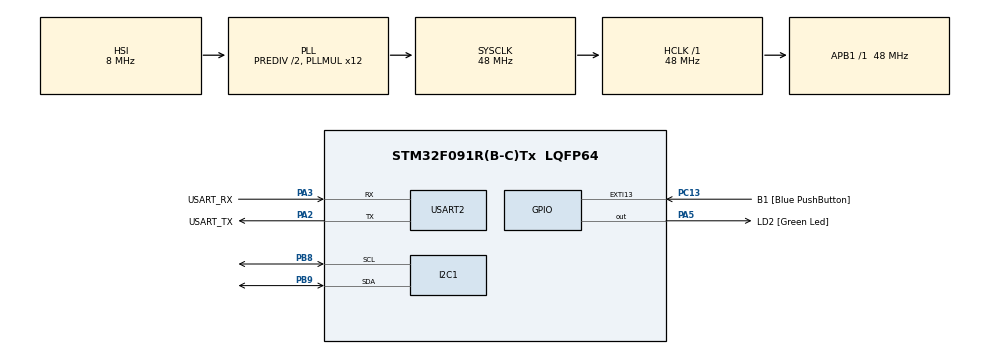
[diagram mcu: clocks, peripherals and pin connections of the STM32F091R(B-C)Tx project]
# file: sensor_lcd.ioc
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Mcu.Family=STM32F0
Mcu.Name=STM32F091R(B-C)Tx
Mcu.Package=LQFP64
PA13.GPIO_Label=TMS
PA13.Mode=Serial_Wire
PA13.Signal=SYS_SWDIO
PA14.GPIO_Label=TCK
PA14.Mode=Serial_Wire
PA14.Signal=SYS_SWCLK
PA2.GPIO_Label=USART_TX
PA2.GPIO_Mode=GPIO_MODE_AF_PP
PA2.GPIO_PuPd=GPIO_NOPULL
PA2.GPIO_Speed=GPIO_SPEED_FREQ_LOW
PA2.Mode=Asynchronous
PA2.Signal=USART2_TX
PA3.GPIO_Label=USART_RX
PA3.GPIO_Mode=GPIO_MODE_AF_PP
PA3.GPIO_PuPd=GPIO_NOPULL
PA3.GPIO_Speed=GPIO_SPEED_FREQ_LOW
PA3.Mode=Asynchronous
PA3.Signal=USART2_RX
PA5.GPIO_Label=LD2 [Green Led]
PA5.GPIO_Mode=GPIO_MODE_OUTPUT_PP
PA5.GPIO_PuPd=GPIO_NOPULL
PA5.GPIO_Speed=GPIO_SPEED_FREQ_LOW
PA5.Signal=GPIO_Output
PB8.Mode=I2C
PB8.Signal=I2C1_SCL
PB9.Mode=I2C
PB9.Signal=I2C1_SDA
PC13.GPIO_Label=B1 [Blue PushButton]
PC13.GPIO_ModeDefaultEXTI=GPIO_MODE_IT_FALLING
PC13.Signal=GPXTI13
PC14OSC32_IN.Mode=LSE-External-Oscillator
PC14OSC32_IN.Signal=RCC_OSC32_IN
PC15OSC32_OUT.Mode=LSE-External-Oscillator
PC15OSC32_OUT.Signal=RCC_OSC32_OUT
PF0-OSC_IN.Mode=HSE-External-Clock-Source
PF0-OSC_IN.Signal=RCC_OSC_IN
PF1-OSC_OUT.Signal=RCC_OSC_OUT
ProjectManager.HeapSize=0x200
ProjectManager.StackSize=0x400
ProjectManager.TargetToolchain=TrueSTUDIO
RCC.AHBFreq_Value=48000000
RCC.APB1Freq_Value=48000000
RCC.APB1TimFreq_Value=48000000
RCC.FLatency-AdvancedSettings=FLASH_LATENCY_1
RCC.HCLKFreq_Value=48000000
RCC.PLLDivider=RCC_PREDIV_DIV2
RCC.PLLMUL=RCC_PLL_MUL12
RCC.PREFETCH_ENABLE-AdvancedSettings=1
RCC.SYSCLKFreq_VALUE=48000000
RCC.SYSCLKSource=RCC_SYSCLKSOURCE_PLLCLK
USART2.VirtualMode=VM_ASYNC
USART2.VirtualMode-Asynchronous=VM_ASYNC
board=NUCLEO-F091RC

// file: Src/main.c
/* USER CODE BEGIN Header */
/**
  ******************************************************************************
  * @file           : main.c
  * @brief          : Main program body
  ******************************************************************************
  * @attention
  *
  * <h2><center>&copy; Copyright (c) 2020 STMicroelectronics.
  * All rights reserved.</center></h2>
  *
  * This software component is licensed by ST under BSD 3-Clause license,
  * the "License"; You may not use this file except in compliance with the
  * License. You may obtain a copy of the License at:
  *                        opensource.org/licenses/BSD-3-Clause
  *
  ******************************************************************************
  */
/* USER CODE END Header */

#include "main.h"
#include "i2c.h"
#include "usart.h"
#include "gpio.h"
#include <stdio.h>
/* USER CODE BEGIN Includes */
#include "lcd.h"
#include "STH31.h"
/* USER CODE END Includes */

/* USER CODE BEGIN PV */

rgb_lcd DataStruct;

 SHT31_data_t data;
 uint8_t Data_T[256];
 uint8_t Data_H[256];

/* USER CODE END PV */

void SystemClock_Config(void);

int main(void)
{

  /* MCU Configuration--------------------------------------------------------*/

  /* Reset of all peripherals, Initializes the Flash interface and the Systick. */
  HAL_Init();

  /* Configure the system clock */
  SystemClock_Config();

  /* Initialize all configured peripherals */
  MX_GPIO_Init();
  MX_I2C1_Init();
  MX_USART2_UART_Init();

  /* USER CODE BEGIN 2 */
  lcd_init(&hi2c1,&DataStruct);
  /* USER CODE END 2 */

  /* Infinite loop */
  while (1)
  {
	/* USER CODE BEGIN 3 */

	  data=SHT31_readData(&hi2c1); // lecture de la temperature et l'humidite

	  // affichage de la temperature et l'humidite sur le port serie
	  HAL_UART_Transmit(&huart2, (uint8_t *)Data_T, sprintf((char *)Data_T, "Temp: %ld.%ld C ",(uint32_t )(data.T),(uint32_t )((data.T-(uint32_t )(data.T))*10)), 1000);
	  HAL_UART_Transmit(&huart2, (uint8_t *)Data_H, sprintf((char *)Data_H, "Hum : %ld.%ld %% ",(uint32_t )(data.H),(uint32_t )((data.H-(uint32_t )(data.H))*10)), 1000);

      lcd_clear();
      // affichage de la temperature sur l'ecran lcd
	  lcd_locate(&hi2c1,0,0);
	  lcd_print((char *)Data_T);
	  // affichage de l'humidite sur l'ecran lcd
	  lcd_locate(&hi2c1,0,1);
	  lcd_print((char *)Data_H);

      HAL_Delay(2000);  // delay de 2s

    /* USER CODE END 3 */
  }
}

void SystemClock_Config(void)
{
  RCC_OscInitTypeDef RCC_OscInitStruct = {0};
  RCC_ClkInitTypeDef RCC_ClkInitStruct = {0};
  RCC_PeriphCLKInitTypeDef PeriphClkInit = {0};

  /** Initializes the CPU, AHB and APB busses clocks
  */
  RCC_OscInitStruct.OscillatorType = RCC_OSCILLATORTYPE_HSI;
  RCC_OscInitStruct.HSIState = RCC_HSI_ON;
  RCC_OscInitStruct.HSICalibrationValue = RCC_HSICALIBRATION_DEFAULT;
  RCC_OscInitStruct.PLL.PLLState = RCC_PLL_ON;
  RCC_OscInitStruct.PLL.PLLSource = RCC_PLLSOURCE_HSI;
  RCC_OscInitStruct.PLL.PLLMUL = RCC_PLL_MUL12;
  RCC_OscInitStruct.PLL.PREDIV = RCC_PREDIV_DIV2;
  if (HAL_RCC_OscConfig(&RCC_OscInitStruct) != HAL_OK)
  {
    Error_Handler();
  }
  /** Initializes the CPU, AHB and APB busses clocks
  */
  RCC_ClkInitStruct.ClockType = RCC_CLOCKTYPE_HCLK|RCC_CLOCKTYPE_SYSCLK
                              |RCC_CLOCKTYPE_PCLK1;
  RCC_ClkInitStruct.SYSCLKSource = RCC_SYSCLKSOURCE_PLLCLK;
  RCC_ClkInitStruct.AHBCLKDivider = RCC_SYSCLK_DIV1;
  RCC_ClkInitStruct.APB1CLKDivider = RCC_HCLK_DIV1;

  if (HAL_RCC_ClockConfig(&RCC_ClkInitStruct, FLASH_LATENCY_1) != HAL_OK)
  {
    Error_Handler();
  }
  PeriphClkInit.PeriphClockSelection = RCC_PERIPHCLK_USART2|RCC_PERIPHCLK_I2C1;
  PeriphClkInit.Usart2ClockSelection = RCC_USART2CLKSOURCE_PCLK1;
  PeriphClkInit.I2c1ClockSelection = RCC_I2C1CLKSOURCE_HSI;
  if (HAL_RCCEx_PeriphCLKConfig(&PeriphClkInit) != HAL_OK)
  {
    Error_Handler();
  }
}

void Error_Handler(void)
{
}

/************************ (C) COPYRIGHT STMicroelectronics *****END OF FILE****/
